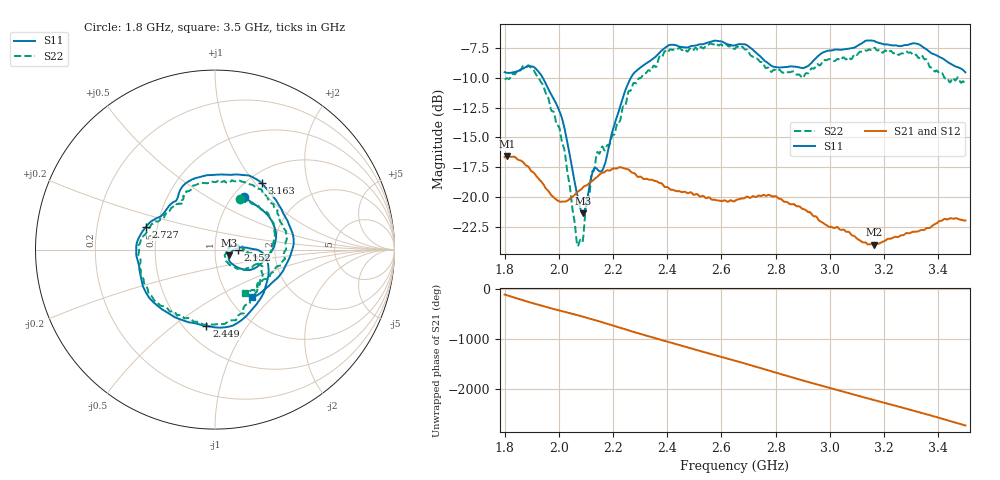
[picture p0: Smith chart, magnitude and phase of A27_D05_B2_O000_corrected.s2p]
! Created with skrf 1.9.0 (http://scikit-rf.org).
# Hz S RI R 50.0
!freq ReS11 ImS11 ReS21 ImS21 ReS12 ImS12 ReS22 ImS22
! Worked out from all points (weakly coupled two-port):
!   1601 points, 1.8 GHz to 3.5 GHz, reference 50 ohm
!   highest |S21| = -16.57 dB at 1.811 GHz (marker M1); lowest = -24.0 dB at 3.162 GHz (marker M2)
!   lowest |S11| = -21.4 dB at 2.089 GHz (marker M3), VSWR 1.19, Z = 58.4 - j3.81 ohm
!   |S11| at or under -10 dB: 1.941 GHz to 2.265 GHz (324 MHz wide, 15.4 % of centre)
!   |S22| runs from -24.1 to -7.1 dB; largest |S21 - S12| = 0.0027
!   S11 on the Smith chart (normalised r, x): 1.8 GHz: 1.12, +0.74; 2.152 GHz: 1.29, +0.00; 2.449 GHz: 0.64, -0.66; 2.727 GHz: 0.43, +0.13; 3.163 GHz: 1.16, +1.08; 3.5 GHz: 1.27, -0.75
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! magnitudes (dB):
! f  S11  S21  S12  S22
! 1.8 GHz  -9.5  -16.7  -16.7  -10.1
! 1.811 GHz  -9.6  -16.6  -16.6  -10.0
! 1.886 GHz  -9.0  -17.4  -17.5  -8.9
! 1.94 GHz  -10.0  -18.8  -18.9  -10.5
! 2.011 GHz  -13.4  -20.4  -20.4  -15.4
! 2.066 GHz  -19.6  -19.6  -19.7  -23.7
! 2.084 GHz  -21.2  -19.3  -19.3  -23.7
! 2.089 GHz  -21.4  -19.2  -19.2  -23.6
! 2.127 GHz  -17.7  -18.6  -18.6  -17.8
! 2.152 GHz  -17.9  -18.1  -18.1  -16.3
! 2.191 GHz  -15.1  -17.7  -17.8  -15.3
! 2.261 GHz  -10.2  -17.8  -17.8  -11.1
! 2.367 GHz  -8.0  -18.8  -18.7  -8.4
! 2.449 GHz  -7.4  -19.6  -19.6  -7.5
! 2.65 GHz  -7.2  -20.3  -20.3  -7.5
! 2.727 GHz  -7.8  -20.0  -20.0  -8.4
! 2.799 GHz  -9.1  -19.9  -19.9  -9.3
! 2.934 GHz  -8.7  -21.5  -21.5  -9.2
! 3.162 GHz  -6.9  -24.0  -24.0  -7.5
! 3.163 GHz  -6.9  -24.0  -24.0  -7.5
! 3.217 GHz  -7.2  -23.5  -23.5  -7.8
! 3.5 GHz  -9.5  -22.0  -22.0  -10.6
